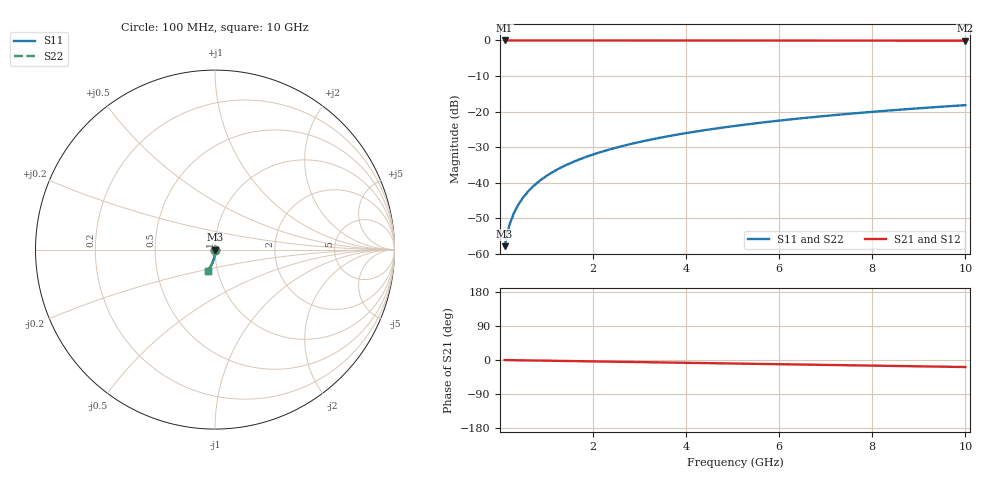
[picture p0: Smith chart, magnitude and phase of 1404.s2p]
# Hz S RI R 50.00
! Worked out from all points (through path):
!   100 points, 100 MHz to 10 GHz, reference 50 ohm
!   highest |S21| = 0.00 dB at 100 MHz (marker M1); lowest = -0.1 dB at 10 GHz (marker M2)
!   group delay of S21, straight-line fit = 5.16 ps
!   lowest |S11| = -57.9 dB at 100 MHz (marker M3), VSWR 1.00, Z = 50 - j0.124 ohm
!   |S11| at or under -10 dB: start of sweep to end of sweep
!   |S22| runs from -57.9 to -18.2 dB; largest |S21 - S12| = 0
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1e8  0.000297 -0.00124  0.9997 -0.00321  0.9997 -0.00321  0.000297 -0.00124
2e8  0.000285 -0.00248  0.9997 -0.00642  0.9997 -0.00642  0.000285 -0.00248
3e8  0.000265 -0.00373  0.9996 -0.00963  0.9996 -0.00963  0.000265 -0.00373
4e8  0.000236 -0.00497  0.9996 -0.0128  0.9996 -0.0128  0.000236 -0.00497
5e8  0.000199 -0.00621  0.9995 -0.0161  0.9995 -0.0161  0.000199 -0.00621
6e8  0.000154 -0.00745  0.9995 -0.0193  0.9995 -0.0193  0.000154 -0.00745
7e8  0.000101 -0.00869  0.9994 -0.0225  0.9994 -0.0225  0.000101 -0.00869
8e8  3.98e-05 -0.00994  0.9993 -0.0257  0.9993 -0.0257  3.98e-05 -0.00994
9e8  -2.94e-05 -0.0112  0.9992 -0.0289  0.9992 -0.0289  -2.94e-05 -0.0112
1.1e9  -0.000192 -0.0137  0.9989 -0.0353  0.9989 -0.0353  -0.000192 -0.0137
1.4e9  -0.000496 -0.0174  0.9985 -0.045  0.9985 -0.045  -0.000496 -0.0174
1.8e9  -0.00101 -0.0223  0.9977 -0.0578  0.9977 -0.0578  -0.00101 -0.0223
2.1e9  -0.00149 -0.0261  0.997 -0.0674  0.997 -0.0674  -0.00149 -0.0261
2.5e9  -0.00223 -0.031  0.9959 -0.0803  0.9959 -0.0803  -0.00223 -0.031
2.9e9  -0.0031 -0.0359  0.9946 -0.0931  0.9946 -0.0931  -0.0031 -0.0359
3.4e9  -0.00437 -0.0421  0.9927 -0.1091  0.9927 -0.1091  -0.00437 -0.0421
4.2e9  -0.00681 -0.0518  0.9891 -0.1347  0.9891 -0.1347  -0.00681 -0.0518
5.1e9  -0.0102 -0.0626  0.9841 -0.1634  0.9841 -0.1634  -0.0102 -0.0626
5.9e9  -0.0137 -0.072  0.9788 -0.1887  0.9788 -0.1887  -0.0137 -0.072
6.7e9  -0.0177 -0.0812  0.9728 -0.2139  0.9728 -0.2139  -0.0177 -0.0812
8.4e9  -0.0277 -0.1001  0.9576 -0.2668  0.9576 -0.2668  -0.0277 -0.1001
1e10  -0.039 -0.1166  0.9403 -0.3156  0.9403 -0.3156  -0.039 -0.1166
